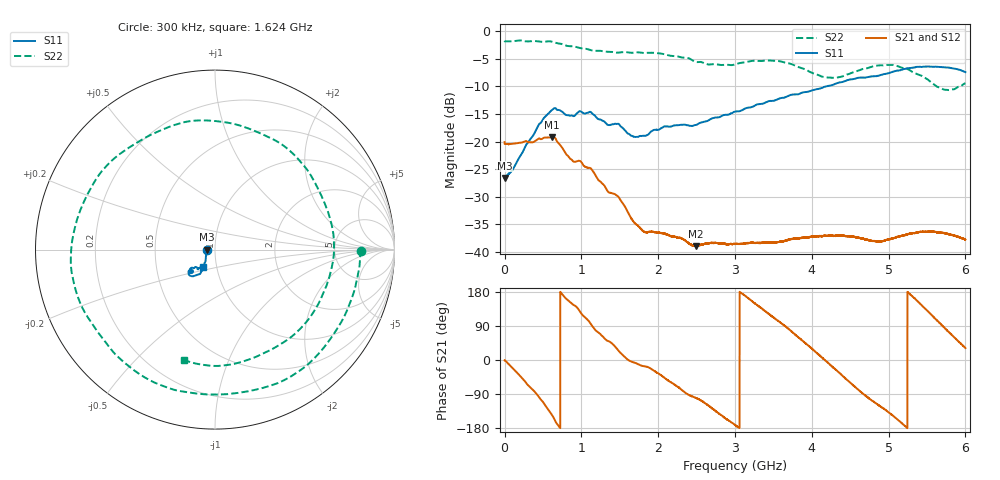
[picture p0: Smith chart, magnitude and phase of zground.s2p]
!  8/6/2020  04:04:54
! Ref Plane: 0.000 mm
# MHZ S MA R  50
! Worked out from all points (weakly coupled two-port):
!   10001 points, 300 kHz to 6 GHz, reference 50 ohm
!   highest |S21| = -19.20 dB at 612.9 MHz (marker M1); lowest = -38.9 dB at 2.488 GHz (marker M2)
!   lowest |S11| = -26.6 dB at 300 kHz (marker M3), VSWR 1.10, Z = 45.5 - j0.0477 ohm
!   |S11| at or under -10 dB: start of sweep to 4.19 GHz
!   |S22| runs from -10.7 to -1.7 dB; largest |S21 - S12| = 0.0031
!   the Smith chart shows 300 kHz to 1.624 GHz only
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0.3  0.04681 -179.4  0.09911 -0.8  0.096 -0.9  0.8137 -0.5
308.0846  0.09862 -126.6  0.09894 -67.2  0.09929 -67.3  0.8075 -90.7
612.8694  0.1922 -129.4  0.1096 -143.9  0.1099 -143.9  0.8035 -177.8
816.2592  0.1736 -140.4  0.07519 159.5  0.07544 159.3  0.7351 122.8
1000.45  0.1865 -138.3  0.06508 122.2  0.06513 122.1  0.6975 71.6
1258.437  0.1578 -138.9  0.04285 65.8  0.0429 65.7  0.6628 -2.5
1544.023  0.1316 -129.8  0.02737 12.1  0.02743 12.0  0.647 -84.2
1787.611  0.1124 -106.2  0.01589 -15.4  0.01591 -15.4  0.6378 -149.9
2000.6  0.128 -90.5  0.01499 -35.3  0.015 -35.3  0.6311 154.5
2242.988  0.1406 -81.7  0.0136 -69.5  0.01365 -69.4  0.5943 91.5
2487.776  0.1415 -69.6  0.01132 -100.2  0.01142 -100.2  0.5279 24.1
2767.962  0.1654 -55.4  0.01211 -137.7  0.01208 -137.9  0.5 -61.1
3000.15  0.1866 -46.5  0.01179 -171.4  0.01189 -171.5  0.5005 -131.1
3237.138  0.2083 -39.3  0.01216 152.5  0.01216 152.6  0.5397 165.4
3523.324  0.2367 -31.6  0.01226 108.9  0.01232 108.7  0.5385 95.2
4000.3  0.2903 -21.0  0.01379 30.2  0.01383 29.9  0.4206 -28.5
4228.289  0.3209 -16.2  0.0141 -10.7  0.01413 -10.9  0.3811 -102.3
4489.275  0.3643 -14.0  0.01392 -57.8  0.01398 -58.1  0.4108 174.9
4769.462  0.3888 -13.3  0.01268 -105.1  0.01272 -105.3  0.4733 101.8
5000.45  0.4159 -10.5  0.01306 -138.3  0.01301 -138.4  0.495 48.3
5506.825  0.4789 -15.8  0.01532 129.4  0.01532 129.2  0.3661 -74.3
6000  0.4256 -27.7  0.01299 31.5  0.01306 31.4  0.3385 118.7
